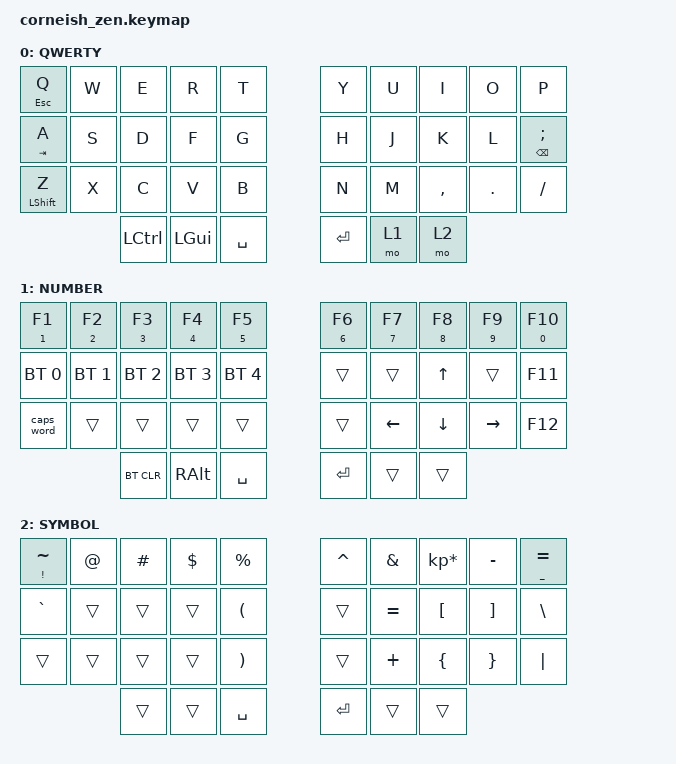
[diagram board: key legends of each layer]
#include <behaviors.dtsi>
#include <dt-bindings/zmk/keys.h>
#include <dt-bindings/zmk/bt.h>

/ {
  chosen {
    //zmk,matrix_transform = &default_transform;
    zmk,matrix_transform = &five_column_transform;
  };
};

/ {
        keymap {
                compatible = "zmk,keymap";

                default_layer {
                        label = "QWERTY";
// -----------------------------------------------------------------------------------------
// | EQ  |  W  |  E  |  R  |  T  |   |  Y  |  U   |  I  |  O  |  P  |
// | TBA |  S  |  D  |  F  |  G  |   |  H  |  J   |  K  |  L  |  ;  |
// | SHZ |  X  |  C  |  V  |  B  |   |  N  |  M   |  ,  |  .  |  /  |
//            | CTRL | CMD | SPC |   | ENT | RSE  | LWR |
                        bindings = <
&mt ESC Q   &kp W  &kp E    &kp R   &kp T   &kp Y   &kp U  &kp I      &kp O    &kp P    
&mt TAB A   &kp S  &kp D    &kp F   &kp G   &kp H   &kp J  &kp K      &kp L    &mt BSPC SEMI
&mt LSHFT Z &kp X  &kp C    &kp V   &kp B   &kp N   &kp M  &kp COMMA  &kp DOT  &kp FSLH
      &kp LCTRL    &kp LGUI &kp SPACE       &kp RET &mo 1  &mo 2
                        >;
                };
                lower_layer {
                        label = "NUMBER";
// -----------------------------------------------------------------------------------------
// |  1  |  2  |  3  |  4  |  5  |   |  6  |  7  |  8  |  9  |  0  | 
// | BT1 | BT2 | BT3 | BT4 | BT5 |   |     |     |  UP |     |     | 
// | CAPS|     |     |     |     |   |     | LFT | DWN | RGT |     | 
//           | BTCLR |     |     |   |     |     |     |
                        bindings = <
 &mt N1 F1    &mt N2 F2    &mt N3 F3    &mt N4 F4    &mt N5 F5      &mt N6 F6  &mt N7 F7  &mt N8 F8 &mt N9 F9 &mt N0 F10 
 &bt BT_SEL 0 &bt BT_SEL 1 &bt BT_SEL 2 &bt BT_SEL 3 &bt BT_SEL 4   &trans     &trans     &kp UP    &trans    &kp F11
 &caps_word   &trans       &trans       &trans       &trans         &trans     &kp LEFT   &kp DOWN  &kp RIGHT &kp F12
                           &bt BT_CLR   &kp RALT     &kp SPACE      &kp RET    &trans     &trans
                        >;
                };

                raise_layer {
                        label = "SYMBOL";
// -----------------------------------------------------------------------------------------
// |  !~ |  @  |  #  |  $  |  %  |   |  ^  |  &  |  *  |  -  |  _= |
// |  `  |     |     |     |  (  |   |     |  =  |  [  |  ]  |  \  |
// |     |     |     |     |  )  |   |     |  +  |  {  |  }  | "|" |
//             | GUI |     | SPC |   | ENT |     | ALT |
                        bindings = <
  &mt EXCL TILDE &kp AT   &kp HASH  &kp DLLR   &kp PRCNT   &kp CARET &kp AMPS  &kp KP_MULTIPLY &kp MINUS &mt UNDER EQUAL
  &kp GRAVE      &trans   &trans    &trans     &kp LPAR    &trans    &kp EQUAL &kp LBKT        &kp RBKT  &kp BSLH
  &trans         &trans   &trans    &trans     &kp RPAR    &trans    &kp PLUS  &kp LBRC        &kp RBRC  &kp PIPE
                 &trans   &trans    &kp SPACE  &kp RET     &trans    &trans
                        >;
                };
        };
};
